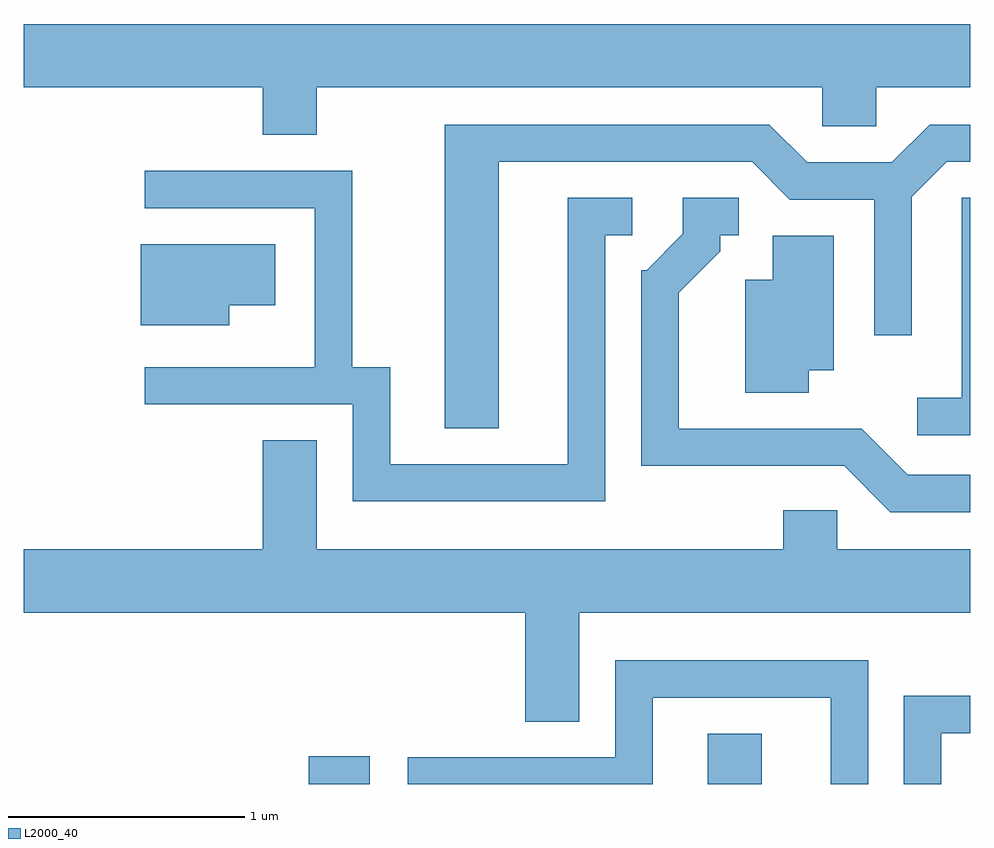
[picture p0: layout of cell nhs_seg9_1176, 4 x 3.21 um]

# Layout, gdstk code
import gdstk
lib = gdstk.Library(unit=1e-6, precision=1e-09)
def R(c, l, rs):  # rectangles x0, y0, x1, y1
    for r in rs: c.add(gdstk.rectangle(r[:2], r[2:], *l))
def P(c, l, *ps):  # polygons
    for p in ps: c.add(gdstk.Polygon(p, *l))
L2000_40 = (2000, 40)

nhs_seg9_1176 = lib.new_cell('nhs_seg9_1176')
R(nhs_seg9_1176, L2000_40, [(220.816,1984.432,221.074,1984.549), (222.501,1984.432,222.729,1984.644)])
P(nhs_seg9_1176, L2000_40, [(220.849,1987.376),(222.986,1987.376),(222.986,1987.211),(223.214,1987.211),(223.214,1987.376),(223.611,1987.376),(223.611,1987.644),(219.611,1987.644),(219.611,1987.376),(220.621,1987.376),(220.621,1987.176),(220.849,1987.176)],
  [(221.619,1987.061),(222.689,1987.061),(222.849,1986.901),(223.206,1986.901),(223.206,1986.328),(223.364,1986.328),(223.364,1986.914),(223.512,1987.061),(223.611,1987.061),(223.611,1987.219),(223.439,1987.219),(223.279,1987.059),(222.922,1987.059),(222.762,1987.219),(221.391,1987.219),(221.391,1985.936),(221.619,1985.936)],
  [(222.069,1986.751),(222.183,1986.751),(222.183,1986.909),(221.911,1986.909),(221.911,1985.784),(221.159,1985.784),(221.159,1986.194),(220.999,1986.194),(220.999,1987.024),(220.123,1987.024),(220.123,1986.866),(220.841,1986.866),(220.841,1986.194),(220.123,1986.194),(220.123,1986.036),(221.001,1986.036),(221.001,1985.626),(222.069,1985.626)],
  [(223.611,1986.909),(223.576,1986.909),(223.576,1986.064),(223.388,1986.064),(223.388,1985.906),(223.611,1985.906)],
  [(223.611,1985.739),(223.347,1985.739),(223.152,1985.934),(222.379,1985.934),(222.379,1986.509),(222.554,1986.684),(222.554,1986.751),(222.633,1986.751),(222.633,1986.909),(222.396,1986.909),(222.396,1986.757),(222.244,1986.604),(222.221,1986.604),(222.221,1985.776),(223.079,1985.776),(223.274,1985.581),(223.611,1985.581)],
  [(222.929,1986.181),(223.034,1986.181),(223.034,1986.749),(222.776,1986.749),(222.776,1986.564),(222.661,1986.564),(222.661,1986.086),(222.929,1986.086)],
  [(220.479,1986.456),(220.674,1986.456),(220.674,1986.714),(220.106,1986.714),(220.106,1986.371),(220.479,1986.371)],
  [(221.959,1985.156),(223.611,1985.156),(223.611,1985.424),(223.049,1985.424),(223.049,1985.589),(222.821,1985.589),(222.821,1985.424),(220.849,1985.424),(220.849,1985.884),(220.621,1985.884),(220.621,1985.424),(219.611,1985.424),(219.611,1985.156),(221.731,1985.156),(221.731,1984.696),(221.959,1984.696)],
  [(222.269,1984.796),(223.021,1984.796),(223.021,1984.432),(223.179,1984.432),(223.179,1984.954),(222.111,1984.954),(222.111,1984.544),(221.233,1984.544),(221.233,1984.432),(222.269,1984.432)],
  [(223.489,1984.646),(223.611,1984.646),(223.611,1984.804),(223.331,1984.804),(223.331,1984.432),(223.489,1984.432)])

lib.write_gds('nhs_seg9_1176.gds')
